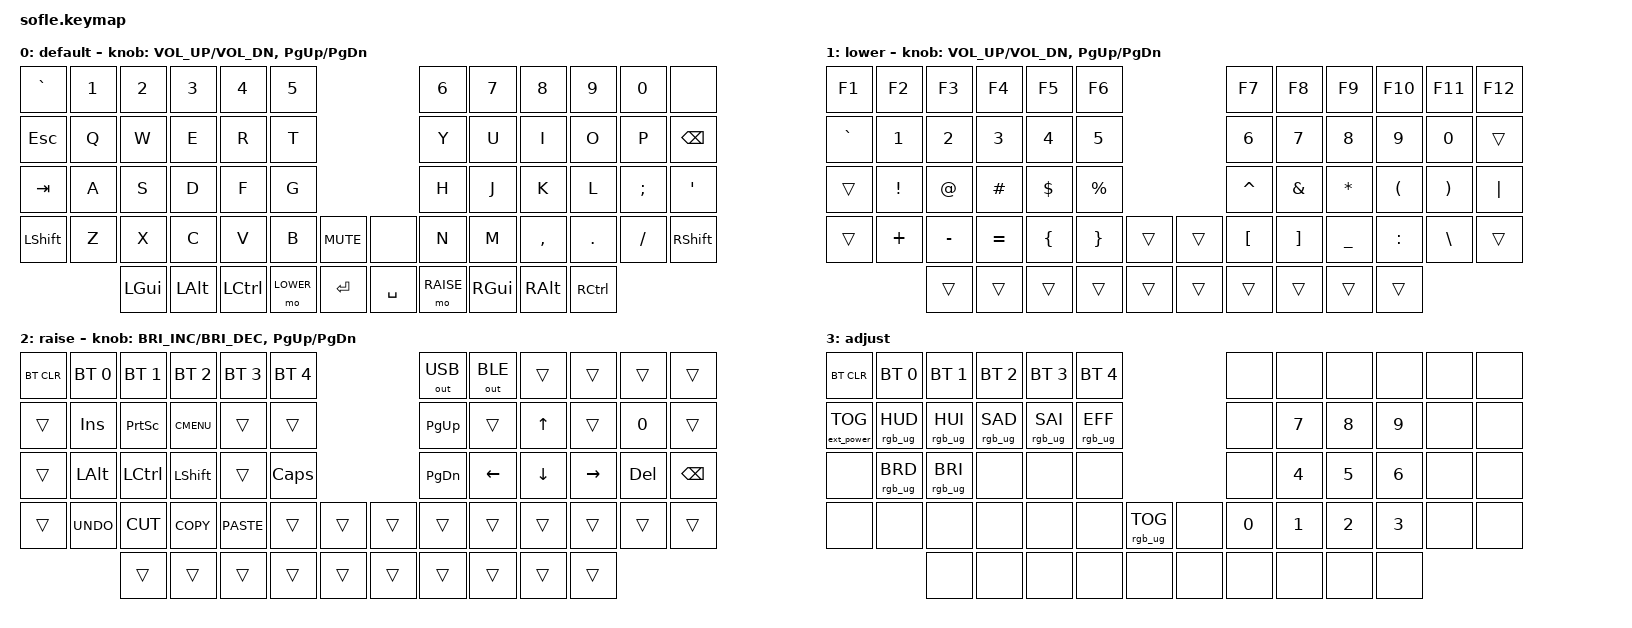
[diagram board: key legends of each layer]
/*
 * Copyright (c) 2020 The ZMK Contributors
 *
 * SPDX-License-Identifier: MIT
 */

#include <behaviors.dtsi>
#include <dt-bindings/zmk/keys.h>
#include <dt-bindings/zmk/bt.h>
#include <dt-bindings/zmk/outputs.h>
#include <dt-bindings/zmk/rgb.h>
#include <dt-bindings/zmk/ext_power.h>


// If needed, adjust the value of ZMK_MOUSE_DEFAULT_SCRL_VAL, must be done before including mouse.h
// ref: https://github.com/zmkfirmware/zmk/issues/72#issuecomment-2081690485
// and: https://github.com/zmkfirmware/zmk/pull/2027#issuecomment-2130938216
#define ZMK_MOUSE_DEFAULT_SCRL_VAL 600 // default is 300

// NOTE: Adding or removing mouse support requires updating the HID Descriptor.
// You will need to re-pair to your devices.
//https://deploy-preview-2178--zmk.netlify.app/docs/features/bluetooth#refreshing-the-hid-descriptor
#include <dt-bindings/zmk/mouse.h>

#define BASE 0
#define LOWER 1
#define RAISE 2
#define ADJUST 3

/ {
    // defaults for triggers/steps: https://github.com/zmkfirmware/zmk/blob/main/app/boards/shields/sofle/sofle.dtsi
    // explanations of settings: https://zmk.dev/docs/config/encoders
    // steps is number of physical pulses per rotation
    // triggers is number of times bound action is run per rotation
    left_encoder: encoder_left {
        steps = <5>; // default is 80, datasheet says 15
    };

    right_encoder: encoder_right {
        steps = <5>; // default is 80, datasheet says 15
    };

    sensors {
        compatible = "zmk,keymap-sensors";
        sensors = <&left_encoder &right_encoder>;
        triggers-per-rotation = <5>; // default is 20
    };

    // behaviors {
    //     // mouse scroll behavior
    //     // ref: https://github.com/zmkfirmware/zmk/pull/2477
    //     // ref: https://github.com/zmkfirmware/zmk/issues/72#issuecomment-2081690485
    //     scroll_up_down: behavior_sensor_rotate_mouse_wheel_up_down {
    //         compatible = "zmk,behavior-sensor-rotate";
    //         #sensor-binding-cells = <0>;
    //         // If needed, adjust the value of tap-ms
    //         // ref: https://github.com/zmkfirmware/zmk/issues/72#issuecomment-2081690485
    //         // and: https://github.com/zmkfirmware/zmk/pull/2027#issuecomment-2130938216
    //         tap-ms = <20>;
    //         bindings = <&msc SCRL_UP>, <&msc SCRL_DOWN>;
    //     };
    // };

   // Activate ADJUST layer by pressing raise and lower
    conditional_layers {
        compatible = "zmk,conditional-layers";
        adjust_layer {
            if-layers = <LOWER RAISE>;
            then-layer = <ADJUST>;
        };
    };

    keymap {
        compatible = "zmk,keymap";

        default_layer {
            display-name = "default";
// ------------------------------------------------------------------------------------------------------------
// |   `   |  1  |  2  |  3   |  4   |  5   |                   |  6   |  7    |  8    |  9   |   0   |       |
// |  ESC  |  Q  |  W  |  E   |  R   |  T   |                   |  Y   |  U    |  I    |  O   |   P   | BKSPC |
// |  TAB  |  A  |  S  |  D   |  F   |  G   |                   |  H   |  J    |  K    |  L   |   ;   |   '   |
// | SHIFT |  Z  |  X  |  C   |  V   |  B   |  MUTE  |  |       |  N   |  M    |  ,    |  .   |   /   | SHIFT |
//               | GUI | ALT  | CTRL | LOWER|  ENTER |  | SPACE | RAISE| CTRL  | ALT   | GUI  |
            bindings = <
&kp GRAVE &kp N1 &kp N2   &kp N3   &kp N4    &kp N5                           &kp N6 &kp N7    &kp N8    &kp N9   &kp N0   &none
&kp ESC   &kp Q  &kp W    &kp E    &kp R     &kp T                            &kp Y  &kp U     &kp I     &kp O    &kp P    &kp BSPC
&kp TAB   &kp A  &kp S    &kp D    &kp F     &kp G                            &kp H  &kp J     &kp K     &kp L    &kp SEMI &kp SQT
&kp LSHFT &kp Z  &kp X    &kp C    &kp V     &kp B      &kp C_MUTE &none      &kp N  &kp M     &kp COMMA &kp DOT  &kp FSLH &kp RSHFT
                 &kp LGUI &kp LALT &kp LCTRL &mo LOWER  &kp RET    &kp SPACE  &mo RAISE  &kp RGUI &kp RALT  &kp RCTRL
            >;

            sensor-bindings = <&inc_dec_kp C_VOL_UP C_VOL_DN &inc_dec_kp PG_UP PG_DN>;
        };

        lower_layer {
            display-name = "lower";
// TODO: Some binds are waiting for shifted keycode support.
// ------------------------------------------------------------------------------------------------------------
// |       |  F1 |  F2 |  F3  |  F4  |  F5  |                   |  F6  |  F7   |  F8   |  F9  |  F10  |  F11  |
// |   `   |  1  |  2  |  3   |  4   |  5   |                   |  6   |  7    |  8    |  9   |   0   |  F12  |
// |       |  !  |  @  |  #   |  $   |  %   |                   |  ^   |  &    |  *    |  (   |   )   |   |   |
// |       |  =  |  -  |  +   |  {   |  }   |        |  |       |  [   |  ]    |  ;    |  :   |   \   |       |
//               |     |      |      |      |        |  |       |      |       |       |      |
            bindings = <
&kp F1    &kp F2    &kp F3    &kp F4      &kp F5    &kp F6                    &kp F7    &kp F8   &kp F9    &kp F10   &kp F11   &kp F12
&kp GRAVE &kp N1    &kp N2    &kp N3      &kp N4    &kp N5                    &kp N6    &kp N7   &kp N8    &kp N9    &kp N0    &trans
&trans    &kp EXCL  &kp AT    &kp HASH    &kp DLLR  &kp PRCNT                 &kp CARET &kp AMPS &kp ASTRK &kp LPAR  &kp RPAR  &kp PIPE
&trans    &kp PLUS &kp MINUS &kp EQUAL &kp LBRC  &kp RBRC   &trans &trans  &kp LBKT  &kp RBKT &kp UNDER &kp COLON &kp BSLH  &trans
                    &trans    &trans      &trans    &trans     &trans &trans  &trans    &trans   &trans    &trans
            >;

            sensor-bindings = <&inc_dec_kp C_VOL_UP C_VOL_DN &inc_dec_kp PG_UP PG_DN>;
        };

        raise_layer {
            display-name = "raise";
// ------------------------------------------------------------------------------------------------------------
// | BTCLR | BT1  | BT2  |  BT3  |  BT4  |  BT5 |                |      |      |       |      |       |       |
// |       | INS  | PSCR | GUI   |       |      |                | PGUP |      |   ^   |      |       |       |
// |       | ALT  | CTRL | SHIFT |       | CAPS |                | PGDN |   <- |   v   |  ->  |  DEL  | BKSPC |
// |       | UNDO | CUT  | COPY  | PASTE |      |      |  |      |      |      |       |      |       |       |
//                |      |       |       |      |      |  |      |      |      |       |      |
            bindings = <
&bt BT_CLR &bt BT_SEL 0 &bt BT_SEL 1 &bt BT_SEL 2 &bt BT_SEL 3 &bt BT_SEL 4                  &out OUT_USB    &out OUT_BLE    &trans   &trans    &trans  &trans
&trans     &kp INS      &kp PSCRN    &kp K_CMENU  &trans       &trans                        &kp PG_UP &trans    &kp UP   &trans    &kp N0  &trans
&trans     &kp LALT     &kp LCTRL    &kp LSHFT    &trans       &kp CLCK                      &kp PG_DN &kp LEFT  &kp DOWN &kp RIGHT &kp DEL &kp BSPC
&trans     &kp K_UNDO   &kp K_CUT    &kp K_COPY   &kp K_PASTE  &trans        &trans  &trans  &trans    &trans    &trans   &trans    &trans  &trans
                        &trans       &trans       &trans       &trans        &trans  &trans  &trans    &trans    &trans   &trans
            >;

            sensor-bindings = <&inc_dec_kp C_BRI_INC C_BRI_DEC &inc_dec_kp PG_UP PG_DN>;
        };

        adjust_layer {
// ----------------------------------------------------------------------------------------------------------------------------
// | BTCLR  |  BT1    |  BT2    |   BT3   |   BT4   |   BT5   |                  |      |      |       |      |       |       |
// | EXTPWR | RGB_HUD | RGB_HUI | RGB_SAD | RGB_SAI | RGB_EFF |                  |      |      |       |      |       |       |
// |        | RGB_BRD | RGB_BRI |         |         |         |                  |      |      |       |      |       |       |
// |        |         |         |         |         |         | RGB_TOG | |      |      |      |       |      |       |       |
//                    |         |         |         |         |         | |      |      |      |       |      |
            display-name = "adjust";
            bindings = <
&bt BT_CLR        &bt BT_SEL 0    &bt BT_SEL 1    &bt BT_SEL 2    &bt BT_SEL 3    &bt BT_SEL 4                            &none &none &none &none &none &none
&ext_power EP_TOG &rgb_ug RGB_HUD &rgb_ug RGB_HUI &rgb_ug RGB_SAD &rgb_ug RGB_SAI &rgb_ug RGB_EFF                         &none &kp N7 &kp N8 &kp N9 &none &none
&none             &rgb_ug RGB_BRD &rgb_ug RGB_BRI &none           &none           &none                                   &none &kp N4 &kp N5 &kp N6 &none &none
&none             &none           &none           &none           &none           &none            &rgb_ug RGB_TOG &none  &kp N0 &kp N1 &kp N2 &kp N3 &none &none
                                  &none           &none           &none           &none            &none           &none  &none &none &none &none
            >;
        };

    };
};
